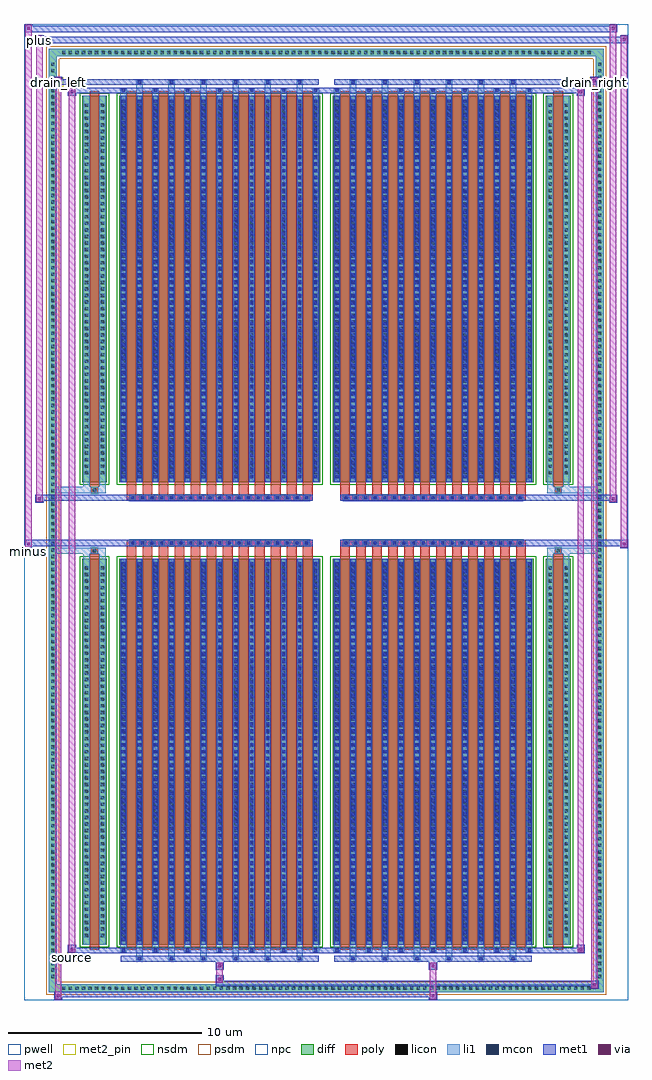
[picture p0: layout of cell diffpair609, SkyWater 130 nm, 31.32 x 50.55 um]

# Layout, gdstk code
import gdstk
lib = gdstk.Library(unit=1e-6, precision=5e-09)
def R(c, l, rs):  # rectangles x0, y0, x1, y1
    for r in rs: c.add(gdstk.rectangle(r[:2], r[2:], *l))
def A(c, l, x, y, w, h, nx, ny, dx, dy):  # array of equal rectangles
    R(c, l, [(x+i*dx, y+j*dy, x+i*dx+w, y+j*dy+h) for i in range(nx) for j in range(ny)])
def P(c, l, *ps):  # polygons
    for p in ps: c.add(gdstk.Polygon(p, *l))
pwell = (64, 44)
diff = (65, 20)
poly = (66, 20)
licon = (66, 44)
li1 = (67, 20)
mcon = (67, 44)
met1 = (68, 20)
via = (68, 44)
met2_pin = (69, 16)
met2 = (69, 20)
nsdm = (93, 44)
psdm = (94, 20)
npc = (95, 20)

diffpair609 = lib.new_cell('diffpair609')
R(diffpair609, pwell, [(-15.64,-24.84,15.64,25.71), (-12.96,-23.03,-0.01,-0.805), (0.01,-23.03,12.96,-0.805), (-12.96,0.805,-0.01,23.03), (0.01,0.805,12.96,23.03)])
A(diffpair609, diff, -13.805, -24.44, 0.41, 0.41, 81, 2, 0.34, 48.47)
A(diffpair609, diff, -14.37, -23.835, 0.41, 0.41, 1, 140, 0, 0.34)
A(diffpair609, diff, 13.96, -23.835, 0.41, 0.41, 1, 140, 0, 0.34)
R(diffpair609, diff, [(-13.805,-24.44,13.805,-24.03), (-14.37,-23.835,-13.96,23.835), (13.96,-23.835,14.37,23.835), (-12.65,-21.985,-11.37,-1.985), (-10.73,-21.985,-0.32,-1.985), (0.32,-21.985,10.73,-1.985), (11.37,-21.985,12.65,-1.985), (-12.65,1.985,-11.37,21.985), (-10.73,1.985,-0.32,21.985), (0.32,1.985,10.73,21.985), (11.37,1.985,12.65,21.985), (-13.805,24.03,13.805,24.44)])
P(diffpair609, diff, [(14.37,24.44),(-14.37,24.44),(-14.37,-24.03),(-13.96,-24.03),(-13.96,24.03),(13.96,24.03),(13.96,-24.03),(-13.96,-24.03),(-14.37,-24.03),(-14.37,-24.44),(14.37,-24.44)])
A(diffpair609, poly, -10.34, -22.235, 0.5, 20.5, 12, 2, 0.83, 23.97)
A(diffpair609, poly, 0.71, -22.235, 0.5, 20.5, 12, 2, 0.83, 23.97)
A(diffpair609, poly, -10.34, -1.735, 0.5, 0.4, 12, 2, 0.83, 3.07)
A(diffpair609, poly, 0.71, -1.735, 0.5, 0.4, 12, 2, 0.83, 3.07)
A(diffpair609, poly, -10.19, -1.335, 0.33, 0.33, 19, 2, 0.5, 2.34)
A(diffpair609, poly, 0.86, -1.335, 0.33, 0.33, 19, 2, 0.5, 2.34)
R(diffpair609, poly, [(-12.26,-22.235,-11.76,-1.735), (11.76,-22.235,12.26,-1.735), (-12.175,-1.735,-11.845,-1.405), (-12.175,-1.735,-11.845,-1.405), (11.845,-1.735,12.175,-1.405), (11.845,-1.735,12.175,-1.405), (-10.34,-1.335,-0.71,-1.005), (0.71,-1.335,10.34,-1.005), (-10.34,1.005,-0.71,1.335), (0.71,1.005,10.34,1.335), (-12.175,1.405,-11.845,1.735), (-12.175,1.405,-11.845,1.735), (11.845,1.405,12.175,1.735), (11.845,1.405,12.175,1.735), (-12.26,1.735,-11.76,22.235), (11.76,1.735,12.26,22.235)])
A(diffpair609, licon, -13.685, -24.32, 0.17, 0.17, 81, 2, 0.34, 48.47)
A(diffpair609, licon, -14.25, -23.715, 0.17, 0.17, 1, 140, 0, 0.34)
A(diffpair609, licon, 14.08, -23.715, 0.17, 0.17, 1, 140, 0, 0.34)
A(diffpair609, licon, -12.51, -21.59, 0.17, 0.17, 1, 57, 0, 0.34)
A(diffpair609, licon, -11.68, -21.59, 0.17, 0.17, 1, 57, 0, 0.34)
A(diffpair609, licon, -10.59, -21.59, 0.17, 0.17, 13, 57, 0.83, 0.34)
A(diffpair609, licon, 0.46, -21.59, 0.17, 0.17, 13, 57, 0.83, 0.34)
A(diffpair609, licon, 11.51, -21.59, 0.17, 0.17, 1, 57, 0, 0.34)
A(diffpair609, licon, 12.34, -21.59, 0.17, 0.17, 1, 57, 0, 0.34)
A(diffpair609, licon, -10.11, -1.255, 0.17, 0.17, 19, 2, 0.5, 2.34)
A(diffpair609, licon, 0.94, -1.255, 0.17, 0.17, 19, 2, 0.5, 2.34)
A(diffpair609, licon, -12.51, 2.38, 0.17, 0.17, 1, 57, 0, 0.34)
A(diffpair609, licon, -11.68, 2.38, 0.17, 0.17, 1, 57, 0, 0.34)
A(diffpair609, licon, -10.59, 2.38, 0.17, 0.17, 13, 57, 0.83, 0.34)
A(diffpair609, licon, 0.46, 2.38, 0.17, 0.17, 13, 57, 0.83, 0.34)
A(diffpair609, licon, 11.51, 2.38, 0.17, 0.17, 1, 57, 0, 0.34)
A(diffpair609, licon, 12.34, 2.38, 0.17, 0.17, 1, 57, 0, 0.34)
R(diffpair609, licon, [(-12.095,-1.655,-11.925,-1.485), (11.925,-1.655,12.095,-1.485), (-12.095,1.485,-11.925,1.655), (11.925,1.485,12.095,1.655)])
A(diffpair609, li1, -13.765, -24.4, 0.33, 0.33, 81, 2, 0.34, 48.47)
A(diffpair609, li1, -14.33, -23.795, 0.33, 0.33, 1, 140, 0, 0.34)
A(diffpair609, li1, 14, -23.795, 0.33, 0.33, 1, 140, 0, 0.34)
A(diffpair609, li1, -9.84, -22.79, 0.33, 0.805, 6, 2, 1.66, 44.775)
A(diffpair609, li1, -9.76, -22.79, 0.17, 0.17, 6, 2, 1.66, 45.41)
A(diffpair609, li1, 1.21, -22.79, 0.33, 0.805, 6, 2, 1.66, 44.775)
A(diffpair609, li1, 1.29, -22.79, 0.17, 0.17, 6, 2, 1.66, 45.41)
A(diffpair609, li1, -10.67, -22.36, 0.33, 0.375, 7, 2, 1.66, 44.345)
A(diffpair609, li1, -10.59, -22.36, 0.17, 0.17, 7, 2, 1.66, 44.55)
A(diffpair609, li1, 0.38, -22.36, 0.33, 0.375, 7, 2, 1.66, 44.345)
A(diffpair609, li1, 0.46, -22.36, 0.17, 0.17, 7, 2, 1.66, 44.55)
A(diffpair609, li1, -10.67, -21.985, 0.33, 20, 13, 2, 0.83, 23.97)
A(diffpair609, li1, 0.38, -21.985, 0.33, 20, 13, 2, 0.83, 23.97)
A(diffpair609, li1, -10.59, -21.79, 0.17, 0.17, 13, 55, 0.83, 0.36)
A(diffpair609, li1, -10.59, -21.79, 0.17, 19.61, 13, 2, 0.83, 23.97)
A(diffpair609, li1, 0.46, -21.79, 0.17, 0.17, 13, 55, 0.83, 0.36)
A(diffpair609, li1, 0.46, -21.79, 0.17, 19.61, 13, 2, 0.83, 23.97)
A(diffpair609, li1, -12.59, -21.67, 0.33, 0.33, 1, 57, 0, 0.34)
A(diffpair609, li1, -11.76, -21.67, 0.33, 0.33, 1, 57, 0, 0.34)
A(diffpair609, li1, -10.67, -21.67, 0.33, 0.33, 13, 57, 0.83, 0.34)
A(diffpair609, li1, 0.38, -21.67, 0.33, 0.33, 13, 57, 0.83, 0.34)
A(diffpair609, li1, 11.43, -21.67, 0.33, 0.33, 1, 57, 0, 0.34)
A(diffpair609, li1, 12.26, -21.67, 0.33, 0.33, 1, 57, 0, 0.34)
A(diffpair609, li1, -10.19, -1.335, 0.33, 0.33, 19, 2, 0.5, 2.34)
A(diffpair609, li1, 0.86, -1.335, 0.33, 0.33, 19, 2, 0.5, 2.34)
A(diffpair609, li1, -10.59, 2.18, 0.17, 0.17, 13, 55, 0.83, 0.36)
A(diffpair609, li1, 0.46, 2.18, 0.17, 0.17, 13, 55, 0.83, 0.36)
A(diffpair609, li1, -12.59, 2.3, 0.33, 0.33, 1, 57, 0, 0.34)
A(diffpair609, li1, -11.76, 2.3, 0.33, 0.33, 1, 57, 0, 0.34)
A(diffpair609, li1, -10.67, 2.3, 0.33, 0.33, 13, 57, 0.83, 0.34)
A(diffpair609, li1, 0.38, 2.3, 0.33, 0.33, 13, 57, 0.83, 0.34)
A(diffpair609, li1, 11.43, 2.3, 0.33, 0.33, 1, 57, 0, 0.34)
A(diffpair609, li1, 12.26, 2.3, 0.33, 0.33, 1, 57, 0, 0.34)
R(diffpair609, li1, [(-14.37,-24.44,-13.96,-24.03), (-14.37,-24.44,-13.96,-24.03), (-13.96,-24.44,13.96,-24.03), (13.96,-24.44,14.37,-24.03), (13.96,-24.44,14.37,-24.03), (-14.37,-24.03,-13.96,24.03), (13.96,-24.03,14.37,24.03), (-12.59,-21.985,-12.26,-1.985), (-11.76,-21.985,-11.43,-1.985), (11.43,-21.985,11.76,-1.985), (12.26,-21.985,12.59,-1.985), (-12.59,-1.985,-12.26,-1.405), (-11.76,-1.985,-11.43,-1.405), (11.43,-1.985,11.76,-1.405), (12.26,-1.985,12.59,-1.405), (-14.37,-1.735,-12.175,-1.405), (-12.59,-1.735,-12.175,-1.405), (-12.175,-1.735,-11.845,-1.405), (-11.845,-1.735,-11.43,-1.405), (11.43,-1.735,11.845,-1.405), (11.845,-1.735,12.175,-1.405), (11.845,-1.735,14.37,-1.405), (12.175,-1.735,12.59,-1.405), (-14.37,1.405,-12.175,1.735), (-12.59,1.405,-12.175,1.735), (-12.59,1.405,-12.26,1.985), (-12.175,1.405,-11.845,1.735), (-11.845,1.405,-11.43,1.735), (-11.76,1.405,-11.43,1.985), (11.43,1.405,11.845,1.735), (11.43,1.405,11.76,1.985), (11.845,1.405,12.175,1.735), (11.845,1.405,14.37,1.735), (12.175,1.405,12.59,1.735), (12.26,1.405,12.59,1.985), (-12.59,1.985,-12.26,21.985), (-11.76,1.985,-11.43,21.985), (11.43,1.985,11.76,21.985), (12.26,1.985,12.59,21.985), (-14.37,24.03,-13.96,24.44), (-14.37,24.03,-13.96,24.44), (-13.96,24.03,13.96,24.44), (13.96,24.03,14.37,24.44), (13.96,24.03,14.37,24.44)])
A(diffpair609, mcon, -9.76, -22.79, 0.17, 0.17, 6, 2, 1.66, 45.41)
A(diffpair609, mcon, 1.29, -22.79, 0.17, 0.17, 6, 2, 1.66, 45.41)
A(diffpair609, mcon, -10.59, -22.36, 0.17, 0.17, 7, 2, 1.66, 44.55)
A(diffpair609, mcon, 0.46, -22.36, 0.17, 0.17, 7, 2, 1.66, 44.55)
A(diffpair609, mcon, -10.59, -21.79, 0.17, 0.17, 13, 55, 0.83, 0.36)
A(diffpair609, mcon, 0.46, -21.79, 0.17, 0.17, 13, 55, 0.83, 0.36)
A(diffpair609, mcon, -10.11, -1.255, 0.17, 0.17, 19, 2, 0.5, 2.34)
A(diffpair609, mcon, 0.94, -1.255, 0.17, 0.17, 19, 2, 0.5, 2.34)
A(diffpair609, mcon, -10.59, 2.18, 0.17, 0.17, 13, 55, 0.83, 0.36)
A(diffpair609, mcon, 0.46, 2.18, 0.17, 0.17, 13, 55, 0.83, 0.36)
A(diffpair609, met1, -9.82, -22.85, 0.29, 0.29, 6, 2, 1.66, 45.41)
A(diffpair609, met1, 1.23, -22.85, 0.29, 0.29, 6, 2, 1.66, 45.41)
A(diffpair609, met1, -10.65, -22.42, 0.29, 0.29, 7, 2, 1.66, 44.55)
A(diffpair609, met1, 0.4, -22.42, 0.29, 0.29, 7, 2, 1.66, 44.55)
A(diffpair609, met1, -10.65, -21.985, 0.29, 20, 13, 2, 0.83, 23.97)
A(diffpair609, met1, 0.4, -21.985, 0.29, 20, 13, 2, 0.83, 23.97)
A(diffpair609, met1, -10.65, -21.85, 0.29, 0.29, 13, 55, 0.83, 0.36)
A(diffpair609, met1, 0.4, -21.85, 0.29, 0.29, 13, 55, 0.83, 0.36)
A(diffpair609, met1, -10.17, -1.315, 0.29, 0.29, 19, 2, 0.5, 2.34)
A(diffpair609, met1, 0.88, -1.315, 0.29, 0.29, 19, 2, 0.5, 2.34)
A(diffpair609, met1, -10.65, 2.12, 0.29, 0.29, 13, 55, 0.83, 0.36)
A(diffpair609, met1, 0.4, 2.12, 0.29, 0.29, 13, 55, 0.83, 0.36)
R(diffpair609, met1, [(-14.1,-24.84,-13.67,-24.41), (5.31,-24.84,5.74,-24.41), (-14.1,-24.7,5.74,-24.41), (13.67,-24.27,14.1,-23.84), (-5.74,-24.13,14.1,-23.84), (-5.74,-23.99,-5.31,-23.56), (-5.74,-23.28,-5.31,-22.85), (5.31,-23.28,5.74,-22.85), (-10.65,-22.85,-0.4,-22.56), (0.4,-22.85,10.65,-22.56), (-13.39,-22.42,-12.96,-21.99), (-13.39,-22.42,-10.65,-22.13), (-10.65,-22.42,-0.4,-22.13), (-0.4,-22.42,0.4,-22.13), (0.4,-22.42,10.65,-22.13), (10.65,-22.42,13.39,-22.13), (12.96,-22.42,13.39,-21.99), (-15.64,-1.435,-15.21,-1.005), (15.21,-1.435,15.64,-1.005), (-15.64,-1.335,-0.71,-1.005), (-10.34,-1.335,-0.71,-1.005), (0.71,-1.335,10.34,-1.005), (0.71,-1.335,15.64,-1.005), (-15.07,0.905,-14.64,1.335), (14.64,0.905,15.07,1.335), (-15.07,1.005,-10.34,1.335), (-10.34,1.005,-0.71,1.335), (0.71,1.005,10.34,1.335), (10.34,1.005,15.07,1.335), (-13.39,21.99,-12.96,22.42), (12.96,21.99,13.39,22.42), (-13.39,22.13,-10.65,22.42), (-10.65,22.13,-0.4,22.42), (-0.4,22.13,0.4,22.42), (0.4,22.13,10.65,22.42), (10.65,22.13,13.39,22.42), (-14.1,22.56,-13.67,22.99), (-14.1,22.56,-10.65,22.85), (-10.65,22.56,-0.4,22.85), (0.4,22.56,10.65,22.85), (10.65,22.56,14.1,22.85), (13.67,22.56,14.1,22.99), (-15.07,24.71,-14.64,25.14), (-15.07,24.71,-12.96,25.04), (-12.96,24.71,12.96,25.04), (12.96,24.71,15.64,25.04), (15.21,24.71,15.64,25.14), (-15.64,25.28,-15.21,25.71), (-15.64,25.28,-12.96,25.61), (-12.96,25.28,12.96,25.61), (12.96,25.28,15.07,25.61), (14.64,25.28,15.07,25.71)])
R(diffpair609, via, [(-13.96,-24.7,-13.81,-24.55), (5.45,-24.7,5.6,-24.55), (13.81,-24.13,13.96,-23.98), (-5.6,-23.85,-5.45,-23.7), (-5.6,-23.14,-5.45,-22.99), (5.45,-23.14,5.6,-22.99), (-13.25,-22.28,-13.1,-22.13), (13.1,-22.28,13.25,-22.13), (-15.5,-1.295,-15.35,-1.145), (15.35,-1.295,15.5,-1.145), (-14.93,1.045,-14.78,1.195), (14.78,1.045,14.93,1.195), (-13.25,22.13,-13.1,22.28), (13.1,22.13,13.25,22.28), (-13.96,22.7,-13.81,22.85), (13.81,22.7,13.96,22.85), (-14.93,24.85,-14.78,25), (15.35,24.85,15.5,25), (-15.5,25.42,-15.35,25.57), (14.78,25.42,14.93,25.57)])
R(diffpair609, met2_pin, [(-13.425,-22.87,-12.925,-22.37), (-15.675,-1.885,-15.175,-1.385), (-14.135,22.44,-13.635,22.94), (13.635,22.44,14.135,22.94), (-15.105,24.59,-14.605,25.09)])
R(diffpair609, met2, [(-14.05,-24.79,-13.72,-24.46), (-14.05,-24.79,-13.72,22.94), (5.36,-24.79,5.69,-24.46), (5.36,-24.46,5.69,-23.23), (13.72,-24.22,14.05,-23.89), (13.72,-24.22,14.05,22.94), (-5.69,-23.94,-5.36,-23.61), (-5.69,-23.61,-5.36,-23.23), (-5.69,-23.23,-5.36,-22.9), (5.36,-23.23,5.69,-22.9), (-13.34,-22.37,-13.01,-22.04), (-13.34,-22.37,-13.01,22.37), (13.01,-22.37,13.34,-22.04), (13.01,-22.37,13.34,22.37), (-15.59,-1.385,-15.26,-1.055), (-15.59,-1.385,-15.26,25.66), (15.26,-1.385,15.59,-1.055), (15.26,-1.385,15.59,25.09), (-15.02,0.955,-14.69,1.285), (-15.02,0.955,-14.69,25.09), (14.69,0.955,15.02,1.285), (14.69,0.955,15.02,25.66), (-13.34,22.04,-13.01,22.37), (13.01,22.04,13.34,22.37), (-14.05,22.61,-13.72,22.94), (13.72,22.61,14.05,22.94), (-15.02,24.76,-14.69,25.09), (15.26,24.76,15.59,25.09), (-15.59,25.33,-15.26,25.66), (14.69,25.33,15.02,25.66)])
P(diffpair609, met2, [(15.59,-1.385),(15.59,-1.385),(15.59,-1.055),(15.59,-1.055)],
  [(15.59,24.76),(15.59,24.76),(15.59,25.09),(15.59,25.09)],
  [(-15.26,-1.385),(-15.26,-1.385),(-15.26,-1.055),(-15.26,-1.055)],
  [(-15.26,25.33),(-15.26,25.33),(-15.26,25.66),(-15.26,25.66)],
  [(15.02,0.955),(15.02,0.955),(15.02,1.285),(15.02,1.285)],
  [(15.02,25.33),(15.02,25.33),(15.02,25.66),(15.02,25.66)],
  [(-14.69,0.955),(-14.69,0.955),(-14.69,1.285),(-14.69,1.285)],
  [(-14.69,24.76),(-14.69,24.76),(-14.69,25.09),(-14.69,25.09)],
  [(-13.72,-24.79),(-13.72,-24.79),(-13.72,-24.46),(-13.72,-24.46)],
  [(-13.72,22.61),(-13.72,22.61),(-13.72,22.94),(-13.72,22.94)],
  [(14.05,-24.22),(14.05,-24.22),(14.05,-23.89),(14.05,-23.89)],
  [(14.05,22.61),(14.05,22.61),(14.05,22.94),(14.05,22.94)],
  [(-13.01,-22.37),(-13.01,-22.37),(-13.01,-22.04),(-13.01,-22.04)],
  [(-13.01,22.04),(-13.01,22.04),(-13.01,22.37),(-13.01,22.37)],
  [(13.34,-22.37),(13.34,-22.37),(13.34,-22.04),(13.34,-22.04)],
  [(13.34,22.04),(13.34,22.04),(13.34,22.37),(13.34,22.37)])
R(diffpair609, nsdm, [(-12.78,-22.115,-11.24,-1.855), (-10.86,-22.115,-0.19,-1.855), (0.19,-22.115,10.86,-1.855), (11.24,-22.115,12.78,-1.855), (-12.78,1.855,-11.24,22.115), (-10.86,1.855,-0.19,22.115), (0.19,1.855,10.86,22.115), (11.24,1.855,12.78,22.115)])
P(diffpair609, psdm, [(14.5,24.57),(-14.5,24.57),(-14.5,-23.9),(-13.83,-23.9),(-13.83,23.9),(13.83,23.9),(13.83,-23.9),(-13.83,-23.9),(-14.5,-23.9),(-14.5,-24.57),(14.5,-24.57)])
A(diffpair609, npc, -10.21, -1.355, 0.37, 0.37, 19, 2, 0.5, 2.34)
A(diffpair609, npc, 0.84, -1.355, 0.37, 0.37, 19, 2, 0.5, 2.34)
R(diffpair609, npc, [(-12.195,-1.755,-11.825,-1.385), (11.825,-1.755,12.195,-1.385), (-10.21,-1.355,-9.34,-0.985), (-10.21,-1.355,-9.34,-0.985), (-9.71,-1.355,-8.84,-0.985), (-9.71,-1.355,-8.84,-0.985), (-9.21,-1.355,-8.34,-0.985), (-9.21,-1.355,-8.34,-0.985), (-8.71,-1.355,-7.84,-0.985), (-8.71,-1.355,-7.84,-0.985), (-8.21,-1.355,-7.34,-0.985), (-8.21,-1.355,-7.34,-0.985), (-7.71,-1.355,-6.84,-0.985), (-7.71,-1.355,-6.84,-0.985), (-7.21,-1.355,-6.34,-0.985), (-7.21,-1.355,-6.34,-0.985), (-6.71,-1.355,-5.84,-0.985), (-6.71,-1.355,-5.84,-0.985), (-6.21,-1.355,-5.34,-0.985), (-6.21,-1.355,-5.34,-0.985), (-5.71,-1.355,-4.84,-0.985), (-5.71,-1.355,-4.84,-0.985), (-5.21,-1.355,-4.34,-0.985), (-5.21,-1.355,-4.34,-0.985), (-4.71,-1.355,-3.84,-0.985), (-4.71,-1.355,-3.84,-0.985), (-4.21,-1.355,-3.34,-0.985), (-4.21,-1.355,-3.34,-0.985), (-3.71,-1.355,-2.84,-0.985), (-3.71,-1.355,-2.84,-0.985), (-3.21,-1.355,-2.34,-0.985), (-3.21,-1.355,-2.34,-0.985), (-2.71,-1.355,-1.84,-0.985), (-2.71,-1.355,-1.84,-0.985), (-2.21,-1.355,-1.34,-0.985), (-2.21,-1.355,-1.34,-0.985), (-1.71,-1.355,-0.84,-0.985), (-1.71,-1.355,-0.84,-0.985), (0.84,-1.355,1.71,-0.985), (0.84,-1.355,1.71,-0.985), (1.34,-1.355,2.21,-0.985), (1.34,-1.355,2.21,-0.985), (1.84,-1.355,2.71,-0.985), (1.84,-1.355,2.71,-0.985), (2.34,-1.355,3.21,-0.985), (2.34,-1.355,3.21,-0.985), (2.84,-1.355,3.71,-0.985), (2.84,-1.355,3.71,-0.985), (3.34,-1.355,4.21,-0.985), (3.34,-1.355,4.21,-0.985), (3.84,-1.355,4.71,-0.985), (3.84,-1.355,4.71,-0.985), (4.34,-1.355,5.21,-0.985), (4.34,-1.355,5.21,-0.985), (4.84,-1.355,5.71,-0.985), (4.84,-1.355,5.71,-0.985), (5.34,-1.355,6.21,-0.985), (5.34,-1.355,6.21,-0.985), (5.84,-1.355,6.71,-0.985), (5.84,-1.355,6.71,-0.985), (6.34,-1.355,7.21,-0.985), (6.34,-1.355,7.21,-0.985), (6.84,-1.355,7.71,-0.985), (6.84,-1.355,7.71,-0.985), (7.34,-1.355,8.21,-0.985), (7.34,-1.355,8.21,-0.985), (7.84,-1.355,8.71,-0.985), (7.84,-1.355,8.71,-0.985), (8.34,-1.355,9.21,-0.985), (8.34,-1.355,9.21,-0.985), (8.84,-1.355,9.71,-0.985), (8.84,-1.355,9.71,-0.985), (9.34,-1.355,10.21,-0.985), (9.34,-1.355,10.21,-0.985), (-10.21,0.985,-9.34,1.355), (-10.21,0.985,-9.34,1.355), (-9.71,0.985,-8.84,1.355), (-9.71,0.985,-8.84,1.355), (-9.21,0.985,-8.34,1.355), (-9.21,0.985,-8.34,1.355), (-8.71,0.985,-7.84,1.355), (-8.71,0.985,-7.84,1.355), (-8.21,0.985,-7.34,1.355), (-8.21,0.985,-7.34,1.355), (-7.71,0.985,-6.84,1.355), (-7.71,0.985,-6.84,1.355), (-7.21,0.985,-6.34,1.355), (-7.21,0.985,-6.34,1.355), (-6.71,0.985,-5.84,1.355), (-6.71,0.985,-5.84,1.355), (-6.21,0.985,-5.34,1.355), (-6.21,0.985,-5.34,1.355), (-5.71,0.985,-4.84,1.355), (-5.71,0.985,-4.84,1.355), (-5.21,0.985,-4.34,1.355), (-5.21,0.985,-4.34,1.355), (-4.71,0.985,-3.84,1.355), (-4.71,0.985,-3.84,1.355), (-4.21,0.985,-3.34,1.355), (-4.21,0.985,-3.34,1.355), (-3.71,0.985,-2.84,1.355), (-3.71,0.985,-2.84,1.355), (-3.21,0.985,-2.34,1.355), (-3.21,0.985,-2.34,1.355), (-2.71,0.985,-1.84,1.355), (-2.71,0.985,-1.84,1.355), (-2.21,0.985,-1.34,1.355), (-2.21,0.985,-1.34,1.355), (-1.71,0.985,-0.84,1.355), (-1.71,0.985,-0.84,1.355), (0.84,0.985,1.71,1.355), (0.84,0.985,1.71,1.355), (1.34,0.985,2.21,1.355), (1.34,0.985,2.21,1.355), (1.84,0.985,2.71,1.355), (1.84,0.985,2.71,1.355), (2.34,0.985,3.21,1.355), (2.34,0.985,3.21,1.355), (2.84,0.985,3.71,1.355), (2.84,0.985,3.71,1.355), (3.34,0.985,4.21,1.355), (3.34,0.985,4.21,1.355), (3.84,0.985,4.71,1.355), (3.84,0.985,4.71,1.355), (4.34,0.985,5.21,1.355), (4.34,0.985,5.21,1.355), (4.84,0.985,5.71,1.355), (4.84,0.985,5.71,1.355), (5.34,0.985,6.21,1.355), (5.34,0.985,6.21,1.355), (5.84,0.985,6.71,1.355), (5.84,0.985,6.71,1.355), (6.34,0.985,7.21,1.355), (6.34,0.985,7.21,1.355), (6.84,0.985,7.71,1.355), (6.84,0.985,7.71,1.355), (7.34,0.985,8.21,1.355), (7.34,0.985,8.21,1.355), (7.84,0.985,8.71,1.355), (7.84,0.985,8.71,1.355), (8.34,0.985,9.21,1.355), (8.34,0.985,9.21,1.355), (8.84,0.985,9.71,1.355), (8.84,0.985,9.71,1.355), (9.34,0.985,10.21,1.355), (9.34,0.985,10.21,1.355), (-12.195,1.385,-11.825,1.755), (11.825,1.385,12.195,1.755)])
diffpair609.add(gdstk.Label('minus', (-15.425,-1.635), layer=69, texttype=5))
diffpair609.add(gdstk.Label('drain_right', (13.885,22.69), layer=69, texttype=5))
diffpair609.add(gdstk.Label('drain_left', (-13.885,22.69), layer=69, texttype=5))
diffpair609.add(gdstk.Label('source', (-13.175,-22.62), layer=69, texttype=5))
diffpair609.add(gdstk.Label('plus', (-14.855,24.84), layer=69, texttype=5))

lib.write_gds('diffpair609.gds')
